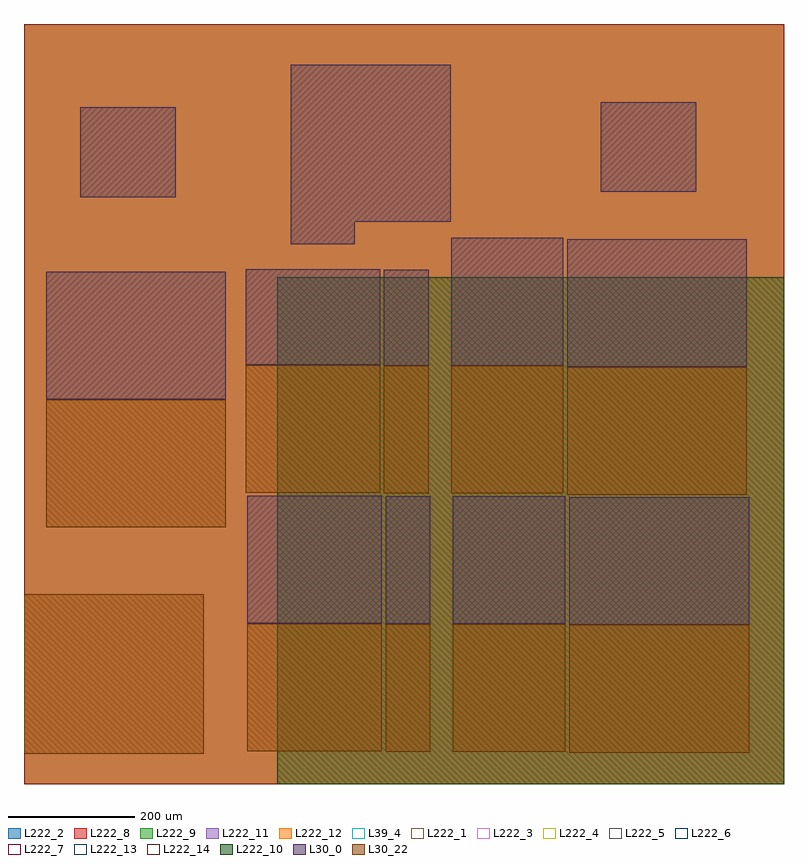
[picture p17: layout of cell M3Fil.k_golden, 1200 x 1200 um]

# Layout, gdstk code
import gdstk
lib = gdstk.Library(unit=1e-6, precision=1e-09)
def R(c, l, rs):  # rectangles x0, y0, x1, y1
    for r in rs: c.add(gdstk.rectangle(r[:2], r[2:], *l))
def A(c, l, x, y, w, h, nx, ny, dx, dy):  # array of equal rectangles
    R(c, l, [(x+i*dx, y+j*dy, x+i*dx+w, y+j*dy+h) for i in range(nx) for j in range(ny)])
L30_0 = (30, 0)
L30_22 = (30, 22)
L39_4 = (39, 4)
L222_1 = (222, 1)
L222_2 = (222, 2)
L222_3 = (222, 3)
L222_4 = (222, 4)
L222_5 = (222, 5)
L222_6 = (222, 6)
L222_7 = (222, 7)
L222_8 = (222, 8)
L222_9 = (222, 9)
L222_10 = (222, 10)
L222_11 = (222, 11)
L222_12 = (222, 12)
L222_13 = (222, 13)
L222_14 = (222, 14)

m3fil_k_golden = lib.new_cell('M3Fil.k_golden')
A(m3fil_k_golden, L30_0, 861.262, 251.615, 35, 50, 8, 4, 35.5, 50.5)
A(m3fil_k_golden, L30_0, 570.831, 252.805, 35, 50, 1, 4, 0, 50.5)
A(m3fil_k_golden, L30_0, 606.331, 252.805, 35, 50, 1, 4, 0, 50.5)
A(m3fil_k_golden, L30_0, 677.331, 252.805, 35, 50, 5, 4, 35.5, 50.5)
A(m3fil_k_golden, L30_0, 352.338, 253.671, 35, 50, 6, 4, 35.5, 50.5)
A(m3fil_k_golden, L30_0, 35.235, 607.475, 35, 50, 8, 4, 35.5, 50.5)
A(m3fil_k_golden, L30_0, 857.542, 658.918, 35, 50, 8, 4, 35.5, 50.5)
A(m3fil_k_golden, L30_0, 568.339, 660.777, 35, 50, 1, 3, 0, 50.5)
A(m3fil_k_golden, L30_0, 603.839, 660.777, 35, 50, 1, 3, 0, 50.5)
A(m3fil_k_golden, L30_0, 674.839, 660.777, 35, 50, 5, 4, 35.5, 50.5)
A(m3fil_k_golden, L30_0, 349.846, 661.643, 35, 50, 6, 3, 35.5, 50.5)
A(m3fil_k_golden, L30_0, 421.515, 887.785, 50, 35, 5, 7, 50.5, 35.5)
A(m3fil_k_golden, L30_0, 88.995, 926.69, 50, 35, 3, 4, 50.5, 35.5)
A(m3fil_k_golden, L30_0, 910.625, 935.125, 50, 35, 3, 4, 50.5, 35.5)
R(m3fil_k_golden, L30_0, [(421.515,852.285,471.515,887.285), (472.015,852.285,522.015,887.285)])
A(m3fil_k_golden, L30_22, 0, 47.575, 35, 50, 8, 5, 35.5, 50.5)
A(m3fil_k_golden, L30_22, 861.262, 49.615, 35, 50, 8, 4, 35.5, 50.5)
A(m3fil_k_golden, L30_22, 570.831, 50.805, 35, 50, 1, 4, 0, 50.5)
A(m3fil_k_golden, L30_22, 606.331, 50.805, 35, 50, 1, 4, 0, 50.5)
A(m3fil_k_golden, L30_22, 677.331, 50.805, 35, 50, 5, 4, 35.5, 50.5)
A(m3fil_k_golden, L30_22, 352.338, 51.671, 35, 50, 6, 4, 35.5, 50.5)
A(m3fil_k_golden, L30_22, 35.235, 405.475, 35, 50, 8, 4, 35.5, 50.5)
A(m3fil_k_golden, L30_22, 857.542, 456.918, 35, 50, 8, 4, 35.5, 50.5)
A(m3fil_k_golden, L30_22, 568.339, 458.777, 35, 50, 1, 4, 0, 50.5)
A(m3fil_k_golden, L30_22, 603.839, 458.777, 35, 50, 1, 4, 0, 50.5)
A(m3fil_k_golden, L30_22, 674.839, 458.777, 35, 50, 5, 4, 35.5, 50.5)
A(m3fil_k_golden, L30_22, 349.846, 459.643, 35, 50, 6, 4, 35.5, 50.5)
R(m3fil_k_golden, L39_4, [(0,0,1200,1200)])
R(m3fil_k_golden, L222_1, [(0,0,1200,1200)])
R(m3fil_k_golden, L222_2, [(0,0,800,800), (400,0,1200,800), (0,400,800,1200), (400,400,1200,1200)])
R(m3fil_k_golden, L222_3, [(0,0,1200,1200)])
R(m3fil_k_golden, L222_4, [(0,0,1200,1200)])
R(m3fil_k_golden, L222_5, [(0,0,1200,1200)])
R(m3fil_k_golden, L222_6, [(0,0,1200,1200)])
R(m3fil_k_golden, L222_7, [(0,0,1200,1200)])
R(m3fil_k_golden, L222_8, [(0,0,800,800), (400,0,1200,800), (0,400,800,1200), (400,400,1200,1200)])
R(m3fil_k_golden, L222_9, [(0,0,800,800), (400,0,1200,800), (0,400,800,1200), (400,400,1200,1200)])
R(m3fil_k_golden, L222_10, [(400,0,1200,800)])
R(m3fil_k_golden, L222_11, [(0,0,800,800), (400,0,1200,800), (0,400,800,1200), (400,400,1200,1200)])
R(m3fil_k_golden, L222_12, [(0,0,800,800), (400,0,1200,800), (0,400,800,1200), (400,400,1200,1200)])
R(m3fil_k_golden, L222_13, [(0,0,1200,1200)])
R(m3fil_k_golden, L222_14, [(0,0,1200,1200)])

lib.write_gds('M3Fil.k_golden.gds')
